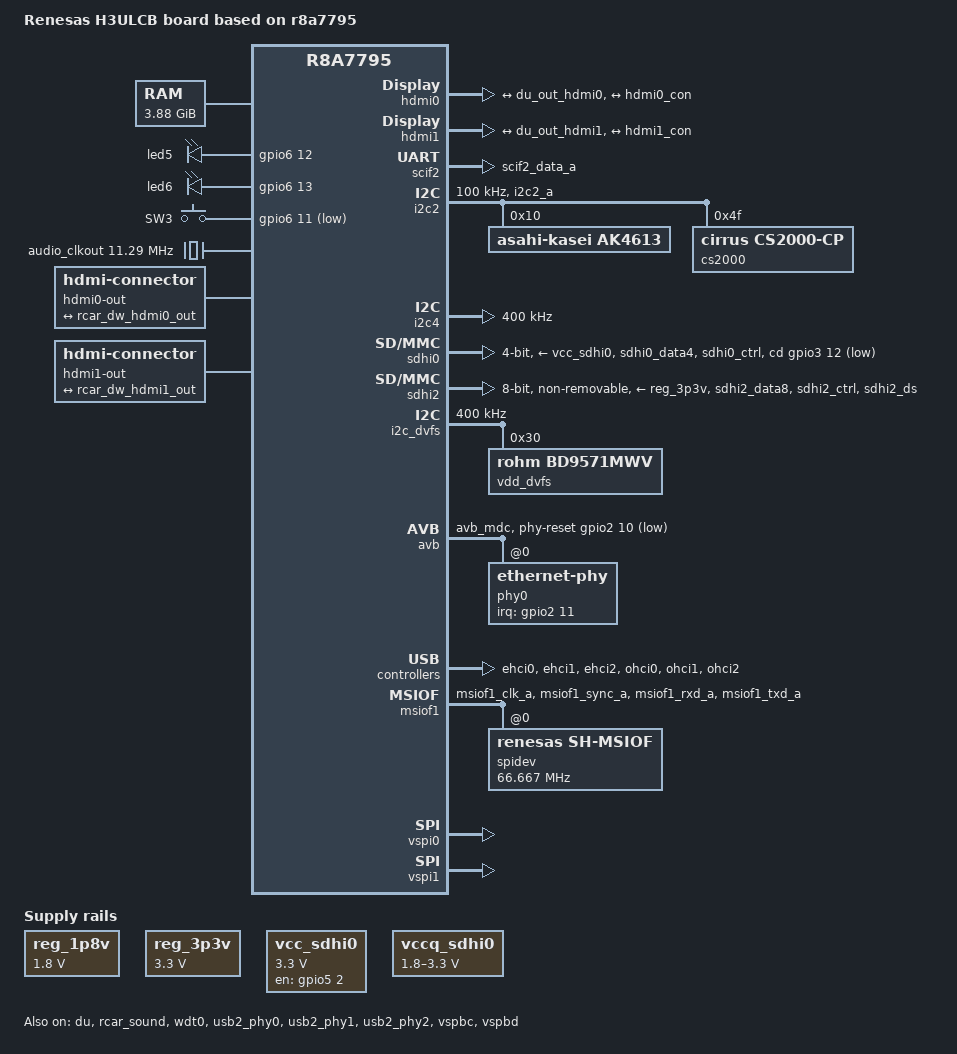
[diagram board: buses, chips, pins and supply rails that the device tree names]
/*
 * Device Tree Source for the H3ULCB (R-Car Starter Kit Premier) board
 *
 * Copyright (C) 2016-2017 Renesas Electronics Corp.
 * Copyright (C) 2016-2017 Cogent Embedded, Inc.
 *
 * This file is licensed under the terms of the GNU General Public License
 * version 2.  This program is licensed "as is" without any warranty of any
 * kind, whether express or implied.
 */

/dts-v1/;
#include "r8a7795.dtsi"
#include <dt-bindings/gpio/gpio.h>
#include <dt-bindings/input/input.h>

/ {
	model = "Renesas H3ULCB board based on r8a7795";
	compatible = "renesas,h3ulcb", "renesas,r8a7795";

	aliases {
		serial0 = &scif2;
		ethernet0 = &avb;
	};

	chosen {
		bootargs = "dom0_mem=256M console=dtuart dtuart=serial0 dom0_max_vcpus=4 bootscrub=0 flask_enforcing=1 loglvl=all";
		xen,dom0-bootargs = "console=hvc0 ignore_loglevel";
		modules {
			#address-cells = <2>;
			#size-cells = <2>;
			module@1 {
				compatible = "xen,linux-zimage", "xen,multiboot-module";
				reg = <0x0 0x7a000000 0x0 0x02000000>;
			};
			module@2 {
				compatible = "xen,xsm-policy", "xen,multiboot-module";
				reg = <0x0 0x7c000000 0x0 0x10000>;
			};
		};
	};

	memory@48000000 {
		device_type = "memory";
		/* first 128MB is reserved for secure area. */
		reg = <0x0 0x48000000 0x0 0x38000000>,
			  <0x5 0x00000000 0x0 0x40000000>,
			  <0x6 0x00000000 0x0 0x40000000>,
			  <0x7 0x00000000 0x0 0x40000000>;
	};

	leds {
		compatible = "gpio-leds";

		led5 {
			gpios = <&gpio6 12 GPIO_ACTIVE_HIGH>;
		};
		led6 {
			gpios = <&gpio6 13 GPIO_ACTIVE_HIGH>;
		};
	};

	keyboard {
		compatible = "gpio-keys";

		key-1 {
			linux,code = <KEY_1>;
			label = "SW3";
			wakeup-source;
			debounce-interval = <20>;
			gpios = <&gpio6 11 GPIO_ACTIVE_LOW>;
		};
	};

	avb-mch {
		compatible = "renesas,avb-mch-gen3";
		reg =	<0 0xec5a0100 0 0x100>;  /* ADG_AVB */
		reg-name = "adg_avb";

		clocks = <&cpg CPG_MOD 922>;
		clock-names = "adg";
	};

	x12_clk: x12 {
		compatible = "fixed-clock";
		#clock-cells = <0>;
		clock-frequency = <24576000>;
	};

	reg_1p8v: regulator0 {
		compatible = "regulator-fixed";
		regulator-name = "fixed-1.8V";
		regulator-min-microvolt = <1800000>;
		regulator-max-microvolt = <1800000>;
		regulator-boot-on;
		regulator-always-on;
	};

	reg_3p3v: regulator1 {
		compatible = "regulator-fixed";
		regulator-name = "fixed-3.3V";
		regulator-min-microvolt = <3300000>;
		regulator-max-microvolt = <3300000>;
		regulator-boot-on;
		regulator-always-on;
	};

	vcc_sdhi0: regulator-vcc-sdhi0 {
		compatible = "regulator-fixed";

		regulator-name = "SDHI0 Vcc";
		regulator-min-microvolt = <3300000>;
		regulator-max-microvolt = <3300000>;

		gpio = <&gpio5 2 GPIO_ACTIVE_HIGH>;
		enable-active-high;
	};

	vccq_sdhi0: regulator-vccq-sdhi0 {
		compatible = "regulator-gpio";

		regulator-name = "SDHI0 VccQ";
		regulator-min-microvolt = <1800000>;
		regulator-max-microvolt = <3300000>;

		gpios = <&gpio5 1 GPIO_ACTIVE_HIGH>;
		gpios-states = <1>;
		states = <3300000 1
			  1800000 0>;
	};

	audio_clkout: audio-clkout {
		/*
		 * This is same as <&rcar_sound 0>
		 * but needed to avoid cs2000/rcar_sound probe dead-lock
		 */
		compatible = "fixed-clock";
		#clock-cells = <0>;
		clock-frequency = <11289600>;
	};

	rsnd_ak4613: sound {
		compatible = "simple-audio-card";

		simple-audio-card,format = "left_j";
		simple-audio-card,bitclock-master = <&sndcpu>;
		simple-audio-card,frame-master = <&sndcpu>;

		sndcpu: simple-audio-card,cpu {
			sound-dai = <&rcar_sound>;
		};

		sndcodec: simple-audio-card,codec {
			sound-dai = <&ak4613>;
		};
	};

	vspm_if {
		compatible = "renesas,vspm_if";
	};

	hdmi0-out {
		compatible = "hdmi-connector";
		type = "a";

		port {
			hdmi0_con: endpoint {
				remote-endpoint = <&rcar_dw_hdmi0_out>;
			};
		};
	};

	hdmi1-out {
		compatible = "hdmi-connector";
		type = "a";

		port {
			hdmi1_con: endpoint {
				remote-endpoint = <&rcar_dw_hdmi1_out>;
			};
		};
	};
};

&du_dotclkin0 {
	clock-frequency = <148500000>;
};

&du_dotclkin1 {
	clock-frequency = <33000000>;
};

&du_dotclkin2 {
	clock-frequency = <33000000>;
};

&du_dotclkin3 {
	clock-frequency = <108000000>;
};

&a57_0 {
	cpu-supply = <&vdd_dvfs>;
};

&du {
	status = "okay";

	ports {
		port@1 {
			endpoint {
				remote-endpoint = <&rcar_dw_hdmi0_in>;
			};
		};
		port@2 {
			endpoint {
				remote-endpoint = <&rcar_dw_hdmi1_in>;
			};
		};
	};
};

&hdmi0 {
	status = "okay";

	ports {
		#address-cells = <1>;
		#size-cells = <0>;
		port@0 {
			reg = <0>;
			rcar_dw_hdmi0_in: endpoint {
				remote-endpoint = <&du_out_hdmi0>;
			};
		};
		port@1 {
			reg = <1>;
			rcar_dw_hdmi0_out: endpoint {
				remote-endpoint = <&hdmi0_con>;
			};
		};
	};
};

&hdmi1 {
	status = "okay";

	ports {
		#address-cells = <1>;
		#size-cells = <0>;
		port@0 {
			reg = <0>;
			rcar_dw_hdmi1_in: endpoint {
				remote-endpoint = <&du_out_hdmi1>;
			};
		};
		port@1 {
			reg = <1>;
			rcar_dw_hdmi1_out: endpoint {
				remote-endpoint = <&hdmi1_con>;
			};
		};
	};
};

&extal_clk {
	clock-frequency = <16666666>;
};

&extalr_clk {
	clock-frequency = <32768>;
};

&pfc {
	pinctrl-0 = <&scif_clk_pins>;
	pinctrl-names = "default";

	scif2_pins: scif2 {
		groups = "scif2_data_a";
		function = "scif2";
	};

	scif_clk_pins: scif_clk {
		groups = "scif_clk_a";
		function = "scif_clk";
	};

	i2c2_pins: i2c2 {
		groups = "i2c2_a";
		function = "i2c2";
	};

	avb_pins: avb {
		groups = "avb_mdc";
		function = "avb";
	};

	sdhi0_pins: sd0 {
		groups = "sdhi0_data4", "sdhi0_ctrl";
		function = "sdhi0";
		power-source = <3300>;
	};

	sdhi0_pins_uhs: sd0_uhs {
		groups = "sdhi0_data4", "sdhi0_ctrl";
		function = "sdhi0";
		power-source = <1800>;
	};

	sdhi2_pins: sd2 {
		groups = "sdhi2_data8", "sdhi2_ctrl", "sdhi2_ds";
		function = "sdhi2";
		power-source = <3300>;
	};

	sdhi2_pins_uhs: sd2_uhs {
		groups = "sdhi2_data8", "sdhi2_ctrl", "sdhi2_ds";
		function = "sdhi2";
		power-source = <1800>;
	};

	msiof1_pins: spi2 {
		groups = "msiof1_clk_a", "msiof1_sync_a",
				"msiof1_rxd_a",  "msiof1_txd_a";
		function = "msiof1";
	};

	sound_pins: sound {
		groups = "ssi01239_ctrl", "ssi0_data", "ssi1_data_a";
		function = "ssi";
	};

	sound_clk_pins: sound-clk {
		groups = "audio_clk_a_a", "audio_clk_b_a", "audio_clk_c_a",
			 "audio_clkout_a", "audio_clkout3_a";
		function = "audio_clk";
	};

	usb0_pins: usb0 {
		groups = "usb0";
		function = "usb0";
	};

	usb1_pins: usb1 {
		groups = "usb1";
		function = "usb1";
	};

	usb2_pins: usb2 {
		groups = "usb2";
		function = "usb2";
	};
};

&scif2 {
	pinctrl-0 = <&scif2_pins>;
	pinctrl-names = "default";

	status = "okay";
};

&scif_clk {
	clock-frequency = <14745600>;
	status = "okay";
};

&i2c2 {
	pinctrl-0 = <&i2c2_pins>;
	pinctrl-names = "default";

	status = "okay";

	clock-frequency = <100000>;

	ak4613: codec@10 {
		compatible = "asahi-kasei,ak4613";
		#sound-dai-cells = <0>;
		reg = <0x10>;
		clocks = <&rcar_sound 3>;

		asahi-kasei,in1-single-end;
		asahi-kasei,in2-single-end;
		asahi-kasei,out1-single-end;
		asahi-kasei,out2-single-end;
		asahi-kasei,out3-single-end;
		asahi-kasei,out4-single-end;
		asahi-kasei,out5-single-end;
		asahi-kasei,out6-single-end;
	};

	cs2000: clk-multiplier@4f {
		#clock-cells = <0>;
		compatible = "cirrus,cs2000-cp";
		reg = <0x4f>;
		clocks = <&audio_clkout>, <&x12_clk>;
		clock-names = "clk_in", "ref_clk";

		assigned-clocks = <&cs2000>;
		assigned-clock-rates = <24576000>; /* 1/1 divide */
	};
};

&i2c4 {
	status = "okay";

	clock-frequency = <400000>;
};

&rcar_sound {
	pinctrl-0 = <&sound_pins &sound_clk_pins>;
	pinctrl-names = "default";

	/* Single DAI */
	#sound-dai-cells = <0>;

	/* audio_clkout0/1/2/3 */
	#clock-cells = <1>;
	clock-frequency = <12288000 11289600>;
	clkout-lr-synchronous;

	status = "okay";

	/* update <audio_clk_b> to <cs2000> */
	clocks = <&cpg CPG_MOD 1005>,
		 <&cpg CPG_MOD 1006>, <&cpg CPG_MOD 1007>,
		 <&cpg CPG_MOD 1008>, <&cpg CPG_MOD 1009>,
		 <&cpg CPG_MOD 1010>, <&cpg CPG_MOD 1011>,
		 <&cpg CPG_MOD 1012>, <&cpg CPG_MOD 1013>,
		 <&cpg CPG_MOD 1014>, <&cpg CPG_MOD 1015>,
		 <&cpg CPG_MOD 1022>, <&cpg CPG_MOD 1023>,
		 <&cpg CPG_MOD 1024>, <&cpg CPG_MOD 1025>,
		 <&cpg CPG_MOD 1026>, <&cpg CPG_MOD 1027>,
		 <&cpg CPG_MOD 1028>, <&cpg CPG_MOD 1029>,
		 <&cpg CPG_MOD 1030>, <&cpg CPG_MOD 1031>,
		 <&cpg CPG_MOD 1020>, <&cpg CPG_MOD 1021>,
		 <&cpg CPG_MOD 1020>, <&cpg CPG_MOD 1021>,
		 <&cpg CPG_MOD 1019>, <&cpg CPG_MOD 1018>,
		 <&audio_clk_a>, <&cs2000>,
		 <&audio_clk_c>,
		 <&cpg CPG_CORE R8A7795_CLK_S0D4>;

	rcar_sound,dai {
		dai0 {
			playback = <&ssi0 &src0 &dvc0>;
			capture  = <&ssi1 &src1 &dvc1>;
		};
	};
};

&sdhi0 {
	pinctrl-0 = <&sdhi0_pins>;
	pinctrl-1 = <&sdhi0_pins_uhs>;
	pinctrl-names = "default", "state_uhs";

	vmmc-supply = <&vcc_sdhi0>;
	vqmmc-supply = <&vccq_sdhi0>;
	cd-gpios = <&gpio3 12 GPIO_ACTIVE_LOW>;
	bus-width = <4>;
	sd-uhs-sdr50;
	sd-uhs-sdr104;
	status = "okay";
};

&sdhi2 {
	/* used for on-board 8bit eMMC */
	pinctrl-0 = <&sdhi2_pins>;
	pinctrl-1 = <&sdhi2_pins_uhs>;
	pinctrl-names = "default", "state_uhs";

	vmmc-supply = <&reg_3p3v>;
	vqmmc-supply = <&reg_1p8v>;
	mmc-hs200-1_8v;
	mmc-hs400-1_8v;
	bus-width = <8>;
	non-removable;
	status = "okay";
};

&ssi1 {
	shared-pin;
};

&wdt0 {
	timeout-sec = <60>;
	status = "okay";
};

&audio_clk_a {
	clock-frequency = <22579200>;
};

&i2c_dvfs {
	status = "okay";
	clock-frequency = <400000>;

	vdd_dvfs: regulator@30 {
		compatible = "rohm,bd9571mwv";
		reg = <0x30>;

		regulator-min-microvolt = <750000>;
		regulator-max-microvolt = <1030000>;
		regulator-boot-on;
		regulator-always-on;
	};
};

&avb {
	pinctrl-0 = <&avb_pins>;
	pinctrl-names = "default";
	renesas,no-ether-link;
	phy-handle = <&phy0>;
	status = "okay";
	phy-gpios = <&gpio2 11 GPIO_ACTIVE_LOW>;
	phy-reset-gpios = <&gpio2 10 GPIO_ACTIVE_LOW>;

	phy0: ethernet-phy@0 {
		rxc-skew-ps = <1500>;
		rxdv-skew-ps = <420>; /* default */
		rxd0-skew-ps = <420>; /* default */
		rxd1-skew-ps = <420>; /* default */
		rxd2-skew-ps = <420>; /* default */
		rxd3-skew-ps = <420>; /* default */
		txc-skew-ps = <900>; /* default */
		txen-skew-ps = <420>; /* default */
		txd0-skew-ps = <420>; /* default */
		txd1-skew-ps = <420>; /* default */
		txd2-skew-ps = <420>; /* default */
		txd3-skew-ps = <420>; /* default */
		reg = <0>;
		interrupt-parent = <&gpio2>;
		interrupts = <11 IRQ_TYPE_LEVEL_LOW>;
	};
};

&usb2_phy0 {
	pinctrl-0 = <&usb0_pins>;
	pinctrl-names = "default";

	status = "okay";
};

&usb2_phy1 {
	pinctrl-0 = <&usb1_pins>;
	pinctrl-names = "default";

	status = "okay";
};

&usb2_phy2 {
	pinctrl-0 = <&usb2_pins>;
	pinctrl-names = "default";

	status = "okay";
};

&ehci0 {
	status = "okay";
};

&ehci1 {
	status = "okay";
};

&ehci2 {
	status = "okay";
};

&ohci0 {
	status = "okay";
};

&ohci1 {
	status = "okay";
};

&ohci2 {
	status = "okay";
};

&msiof_ref_clk {
	clock-frequency = <66666666>;
};

&msiof1 {
	pinctrl-0 = <&msiof1_pins>;
	pinctrl-names = "default";
	status = "okay";

	spidev@0 {
		compatible = "renesas,sh-msiof";
		reg = <0>;
		spi-max-frequency = <66666666>;
		spi-cpha;
		spi-cpol;
	};
};

&vspbc {
	status = "okay";
};

&vspbd {
	status = "okay";
};

&vspi0 {
	status = "okay";
};

&vspi1 {
	status = "okay";
};

&vspbd {
	iommus = <&ipmmu_vp0 5>;	/* FCP-VB ch0 */
};

&vspbc {
	iommus = <&ipmmu_vp1 7>;	/* FCP-VB ch1 */
};

&vspi0 {
	iommus = <&ipmmu_vp0 8>;	/* FCP-VI ch0 */
};

&vspi1 {
	iommus = <&ipmmu_vp1 9>;	/* FCP-VI ch1 */
};

&fdp0 {
	iommus = <&ipmmu_vp0 0>;	/* FCP-F ch0 */
};

&fdp1 {
	iommus = <&ipmmu_vp1 1>;	/* FCP-F ch1 */
};

&fcpvd0 {
	iommus = <&ipmmu_vi0 8>;	/* FCP-VD ch0 */
};

&fcpvd1 {
	iommus = <&ipmmu_vi0 9>;	/* FCP-VD ch1 */
};

&fcpvd2 {
	iommus = <&ipmmu_vi1 10>;	/* FCP-VD ch2 */
};

&hdmi0 {
	iommus = <&ipmmu_vi1 12>;
};

&hdmi1 {
	iommus = <&ipmmu_vi1 13>;
};

&sdhi0 {
	iommus = <&ipmmu_ds1 32>;
};

&sdhi2 {
	iommus = <&ipmmu_ds1 34>;
};

&avb {
	iommus = <&ipmmu_ds0 16>;
};

&ehci0 {
	iommus = <&ipmmu_hc 4>;
};

&ehci1 {
	iommus = <&ipmmu_hc 5>;
};

&ehci2 {
	iommus = <&ipmmu_hc 6>;
};

&ohci0 {
	iommus = <&ipmmu_hc 4>;
};

&ohci1 {
	iommus = <&ipmmu_hc 5>;
};

&ohci2 {
	iommus = <&ipmmu_hc 6>;
};

&usb_dmac0 {
	iommus = <&ipmmu_hc 9>;
};

&usb_dmac1 {
	iommus = <&ipmmu_hc 10>;
};

&usb_dmac2 {
	iommus = <&ipmmu_hc 14>;
};

&usb_dmac3 {
	iommus = <&ipmmu_hc 15>;
};

&ipmmu_vi0 {
	status = "okay";
};

&ipmmu_vi1 {
	status = "okay";
};

&ipmmu_vp0 {
	compatible = "renesas,ipmmu-r8a7795";
	status = "okay";
};

&ipmmu_vp1 {
	compatible = "renesas,ipmmu-r8a7795";
	status = "okay";
};

&ipmmu_vc0 {
	compatible = "renesas,ipmmu-r8a7795";
	status = "okay";
};

&ipmmu_vc1 {
	compatible = "renesas,ipmmu-r8a7795";
	status = "okay";
};

&ipmmu_pv0 {
	status = "okay";
};

&ipmmu_pv1 {
	status = "okay";
};

&ipmmu_pv2 {
	status = "okay";
};

&ipmmu_pv3 {
	status = "okay";
};

&ipmmu_hc {
	status = "okay";
};

&ipmmu_mp0 {
	status = "okay";
};

&ipmmu_ds0 {
	status = "okay";
};

&ipmmu_ds1 {
	status = "okay";
};

&ipmmu_mm {
	status = "okay";
};

&gsx {
	xen,passthrough;
};

/* ============================ Xen pass through section ============================ */

&du			{ xen,passthrough; };
&usb_dmac0	{ xen,passthrough; };
&usb_dmac1	{ xen,passthrough; };
&usb_dmac2	{ xen,passthrough; };
&usb_dmac3	{ xen,passthrough; };
&dmac0		{ xen,passthrough; };
&dmac1		{ xen,passthrough; };
&dmac2		{ xen,passthrough; };
&audma0		{ xen,passthrough; };
&audma1		{ xen,passthrough; };
&avb		{ xen,passthrough; };
&fdp0		{ xen,passthrough; };
&fdp1		{ xen,passthrough; };
&gpio0		{ xen,passthrough; };
&gpio1		{ xen,passthrough; };
&gpio2		{ xen,passthrough; };
&gpio3		{ xen,passthrough; };
&gpio4		{ xen,passthrough; };
&gpio5		{ xen,passthrough; };
&gpio6		{ xen,passthrough; };
&gpio7		{ xen,passthrough; };
&hdmi0		{ xen,passthrough; };
&hdmi1		{ xen,passthrough; };
&i2c_dvfs	{ xen,passthrough; };
&i2c2		{ xen,passthrough; };
&i2c4		{ xen,passthrough; };
&intc_ex	{ xen,passthrough; };
&mfis_as	{ xen,passthrough; };
&sdhi0		{ xen,passthrough; };
&sdhi2		{ xen,passthrough; };
&msiof1		{ xen,passthrough; };
&src0		{ xen,passthrough; };
&src1		{ xen,passthrough; };
&src2		{ xen,passthrough; };
&src3		{ xen,passthrough; };
&src4		{ xen,passthrough; };
&src5		{ xen,passthrough; };
&src6		{ xen,passthrough; };
&src7		{ xen,passthrough; };
&src8		{ xen,passthrough; };
&src9		{ xen,passthrough; };
&ssi0		{ xen,passthrough; };
&ssi1		{ xen,passthrough; };
&ssi2		{ xen,passthrough; };
&ssi3		{ xen,passthrough; };
&ssi4		{ xen,passthrough; };
&ssi5		{ xen,passthrough; };
&ssi6		{ xen,passthrough; };
&ssi7		{ xen,passthrough; };
&ssi8		{ xen,passthrough; };
&ssi9		{ xen,passthrough; };
&tsc1		{ xen,passthrough; };
&tsc2		{ xen,passthrough; };
&tsc3		{ xen,passthrough; };
&usb2_phy0	{ xen,passthrough; };
&ohci0		{ xen,passthrough; };
&ehci0		{ xen,passthrough; };
&ohci1		{ xen,passthrough; };
&ehci1		{ xen,passthrough; };
&ohci2		{ xen,passthrough; };
&ehci2		{ xen,passthrough; };
&ivdp1c		{ xen,passthrough; };
&vdpb		{ xen,passthrough; };
&vcplf		{ xen,passthrough; };
&vspd0		{ xen,passthrough; };
&vspd1		{ xen,passthrough; };
&vspd2		{ xen,passthrough; };
&vspbc		{ xen,passthrough; };
&vspbd		{ xen,passthrough; };
&vspi0		{ xen,passthrough; };
&vspi1		{ xen,passthrough; };
&fcpvd0		{ xen,passthrough; };
&fcpvd1		{ xen,passthrough; };
&fcpvd2		{ xen,passthrough; };
